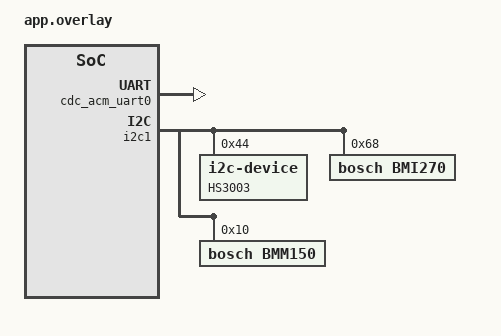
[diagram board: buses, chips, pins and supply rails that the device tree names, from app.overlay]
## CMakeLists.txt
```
cmake_minimum_required(VERSION 3.20.0)
find_package(Zephyr REQUIRED HINTS $ENV{ZEPHYR_BASE})

project(skripsie)

target_include_directories(app PRIVATE
    ${CMAKE_CURRENT_SOURCE_DIR}/include
)

target_sources(app PRIVATE 
src/main.c
src/uart_comm.c
src/GPIO.c
src/mesh.c
src/sensors.c
src/initdata.c
)
```

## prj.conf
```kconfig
CONFIG_GPIO=y


#usb configuration (for cdc uart)
CONFIG_USB_DEVICE_STACK=y
CONFIG_USB_DEVICE_PRODUCT="Zephyr USB console sample"
CONFIG_USB_DEVICE_PID=0x0004
CONFIG_USB_DEVICE_INITIALIZE_AT_BOOT=n

#serial configuration for all uart
CONFIG_SERIAL=y
CONFIG_CONSOLE=y
CONFIG_UART_CONSOLE=y
CONFIG_UART_LINE_CTRL=y 

# General configuration
CONFIG_NCS_APPLICATION_BOOT_BANNER_STRING="Skripsie"
CONFIG_SYSTEM_WORKQUEUE_STACK_SIZE=2048
CONFIG_FLASH=y
CONFIG_FLASH_MAP=y
CONFIG_NVS=y
CONFIG_NVS_LOOKUP_CACHE=y
CONFIG_SETTINGS=y
CONFIG_SETTINGS_NVS_NAME_CACHE=y
CONFIG_HWINFO=y
CONFIG_DK_LIBRARY=y
CONFIG_PM_PARTITION_SIZE_SETTINGS_STORAGE=0x8000
CONFIG_SOC_FLASH_NRF_PARTIAL_ERASE=y
CONFIG_FPU=y
CONFIG_CBPRINTF_FP_SUPPORT=y

# Temperature sensor
CONFIG_SENSOR=y
CONFIG_TEMP_NRF5=y

# Bluetooth configuration
CONFIG_BT=y
CONFIG_BT_DEVICE_NAME="Skripsie"
CONFIG_BT_L2CAP_TX_BUF_COUNT=8
CONFIG_BT_OBSERVER=y
CONFIG_BT_PERIPHERAL=y
CONFIG_BT_SETTINGS=y

# Disable unused Bluetooth features
CONFIG_BT_CTLR_LE_ENC=n
CONFIG_BT_PHY_UPDATE=n
CONFIG_BT_CTLR_CHAN_SEL_2=n
CONFIG_BT_CTLR_MIN_USED_CHAN=n
CONFIG_BT_CTLR_PRIVACY=n

# Bluetooth Mesh configuration
CONFIG_BT_MESH=y
CONFIG_BT_MESH_RELAY=y
CONFIG_BT_MESH_FRIEND=y
CONFIG_BT_MESH_TX_SEG_MAX=10
CONFIG_BT_MESH_PB_GATT=y
CONFIG_BT_MESH_GATT_PROXY=y
CONFIG_BT_MESH_PROXY_USE_DEVICE_NAME=y
CONFIG_BT_MESH_DK_PROV=y
CONFIG_BT_MESH_NLC_PERF_CONF=y
CONFIG_BT_MESH_MODEL_EXTENSIONS=y
CONFIG_BT_MESH_MODEL_EXTENSION_LIST_SIZE=10
# Enabling BT_MESH_NLC_PERF_CONF enables support for 3 application keys by
# default. Therefore, allow up to 3 application key bindings per model instance.
CONFIG_BT_MESH_MODEL_KEY_COUNT=3

# Bluetooth Mesh models
CONFIG_BT_MESH_SENSOR_SRV=y
CONFIG_BT_MESH_SENSOR_SRV_SENSORS_MAX=5

# Increase default delayable message config to avoid insuffisient resources
# during normal sample operation
CONFIG_BT_MESH_ACCESS_DELAYABLE_MSG_CHUNK_COUNT=60
CONFIG_BT_MESH_TX_SEG_MSG_COUNT=4
CONFIG_BT_MESH_ACCESS_DELAYABLE_MSG_COUNT=6

# Debugging
CONFIG_BT_MESH_LOG_LEVEL_DBG=y
CONFIG_BT_MESH_PROVISIONEE_LOG_LEVEL_INF=y

#SENSORS
CONFIG_I2C=y
CONFIG_BMM150=y
CONFIG_BMI270=y
CONFIG_BMM150_SAMPLING_RATE_RUNTIME=y
```

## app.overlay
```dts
//choose cdc uart output as zephyr console alias
/ {
	chosen {
		zephyr,console = &cdc_acm_uart0;
	};
};
//cdc acm uart 
&zephyr_udc0 {
	cdc_acm_uart0: cdc_acm_uart0 {
		compatible = "zephyr,cdc-acm-uart";
	};
};

&i2c1 {
	//Temperaturea and humidity chip HS3003
	hs3003: hs3003@44 {
		compatible = "i2c-device";
		label = "HS3003";
		reg = <0x44>;
		status = "okay";
	};
	//accelerometer and gyro chip BMI270
	bmi270: bmi270@68 {
		compatible = "bosch,bmi270";
		label = "bmi270";
		reg = <0x68>;
		status = "okay";
	};
	bmm150:bmm150@10 {
		compatible = "bosch,bmm150";
		label = "bmm150";
		reg = <0x10>;
		status = "okay";
	};
};
// &arduino_i2c {
// 	status = "okay";

// 	bmi270@68 {
// 		compatible = "bosch,bmi270";
// 		reg = <0x68>;
// 	};
// };
```

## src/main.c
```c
/*
i2c send                                 --yes
i2c read                                 --yes
i2c hs3003 process                       --yes
i2c hs3003 measurement resolution        --no
*/
#include <zephyr/kernel.h>
#include <zephyr/sys/printk.h>
#include <zephyr/usb/usb_device.h>
#include <zephyr/drivers/uart.h>
#include <zephyr/syscalls/time_units.h>
#include <math.h>

#include <stdio.h>
#include <stdlib.h>
#include <string.h>
#include "uart_comm.h"
#include "GPIO.h"
#include "mesh.h"
#include "sensors.h"
#include "initdata.h"

#define TIMER_MS 1000
#define PI 3.14159265359
#define WINDOW_SIZE 40
#define alpha 0.4
#define ALERT_COUNTER_TRIGGER_S 10 //used to determine for how many seconds the wearer can be in an awkward position

static struct k_timer gyr_timer;
static struct k_timer danger_timer;


double acc_roll = 0;
double acc_pitch = 0;
double gyr_roll = 0;
double gyr_pitch = 0;
double gyr_yaw = 0;
double gyr_roll_prev = 0;
double gyr_pitch_prev = 0;
double gyr_yaw_prev = 0;
double roll = 0;
double pitch = 0;
double yaw = 0;
double time_elapsed = 0;
double roll_window[WINDOW_SIZE] = {0};
double pitch_window[WINDOW_SIZE] = {0};
double yaw_window[WINDOW_SIZE] = {0};
uint8_t x= 0;
double roll_smooth = 0;
double pitch_smooth = 0;
double yaw_smooth = 0;
volatile uint16_t doom_count = 0;
void timer_cb(struct k_timer *timer);
double getfloat(double *num);
volatile uint8_t doom_flag = 0;
double avg = 0;
double calculate_average(double num1, double num2, double num3);
// #include "HealthConfig.h"
int main(void)
{       
        onoff_tid = 0;
        k_timer_init(&gyr_timer, timer_cb, NULL);
        //check every 10s if danger and start final timer
        k_timer_init(&danger_timer,timer_cb,NULL);


        if (initialise_uart() !=1)
        {
                printk("Error during UART initialisation\n");
                return 0;
        }
        k_sleep(K_SECONDS(1));

        if(initialise_gpio() != 1)
        {
                printk("Error during GPIO initialisation\n");
                return 0;
        }
        k_sleep(K_SECONDS(1));

        if(initialise_mesh() != 1)
        {
                printk("Error in health server configuration\n");
                return 0;
        }
        k_sleep(K_SECONDS(2));

        if(initialise_i2c() != 1)
        {
                printk("Error initialising i2c device \n");
                return 0;
        }
        k_sleep(K_SECONDS(1));
        //blink when devices connect
        genericOnOffSetUnAck(onoff[0]);//tell mesh network it is safe
        k_msleep(500);
        genericOnOffSetUnAck(onoff[1]);
          k_msleep(500);
        genericOnOffSetUnAck(onoff[0]);
        loop_time = 10;
        //start timer 
        k_timer_start(&gyr_timer,K_MSEC(TIMER_MS),K_MSEC(TIMER_MS));
        k_timer_start(&danger_timer,K_MSEC(TIMER_MS),K_MSEC(TIMER_MS));
        //fill in inital window size sample -1
        for (int i = 0; i < WINDOW_SIZE-1; i++)
                {
                        k_msleep(loop_time);
                        //============================================================================
                        //complementary filter
                        //====================
                        hs3003_measurement();
                        bmi270_measurement();
                        //time elapsed since last measurement
                        time_elapsed = (TIMER_MS - k_timer_remaining_get(&gyr_timer))/1000.0;
                        k_timer_start(&gyr_timer,K_MSEC(TIMER_MS),K_NO_WAIT);
                        //accelerometer measurements to roll and pitch
                        acc_roll = -atan2(acc[0],acc[2]);//outputs radians
                        acc_pitch = asinf(fmaxf(-1.0f,fminf(1.0f,acc[1])));//no need to divid by 9.81 since working in g's
                        //gyr measurements to roll pitch yaw
                        //must conver to radians
                        gyr_roll = gyr_roll_prev + (gyr[1]*PI/180.0)*time_elapsed;
                        gyr_pitch = gyr_pitch_prev + (gyr[0]*PI/180.0)* time_elapsed;
                        gyr_yaw = gyr_yaw_prev + (gyr[2]*PI/180.0)*time_elapsed;
                        //current value into old value 
                        //complementary filter
                        roll = alpha * acc_roll +(1-alpha)*gyr_roll;
                        pitch = alpha*acc_pitch + (1-alpha)*gyr_pitch;
                        yaw = gyr_yaw;
                        gyr_roll_prev = roll;
                        gyr_pitch_prev = pitch;
                        gyr_yaw_prev = yaw;
                        roll_window[i] = fabs(roll);
                        pitch_window[i] = fabs(pitch);
                        yaw_window[i] = fabs(yaw);
                        // printk("%f %f %f\n",roll,pitch,yaw);
                }
        while (1) 
        {
               
                x = x%40;
                k_msleep(loop_time);
                //============================================================================
                //complementary filter
                //====================
                // hs3003_measurement();
                bmi270_measurement();
                //time elapsed since last measurement
                time_elapsed = (TIMER_MS - k_timer_remaining_get(&gyr_timer))/1000.0;
                k_timer_start(&gyr_timer,K_MSEC(TIMER_MS),K_NO_WAIT);
                //accelerometer measurements to roll and pitch
                acc_roll = -atan2(acc[0],acc[2]);//outputs radians
                acc_pitch = asinf(fmaxf(-1.0f,fminf(1.0f,acc[1])));//no need to divid by 9.81 since working in g's
                //gyr measurements to roll pitch yaw
                //must conver to radians
                gyr_roll = gyr_roll_prev + (gyr[1]*PI/180.0)*time_elapsed;
                gyr_pitch = gyr_pitch_prev + (gyr[0]*PI/180.0)* time_elapsed;
                gyr_yaw = gyr_yaw_prev + (gyr[2]*PI/180.0)*time_elapsed;
                //current value into old value 
                //complementary filter
                roll = alpha * acc_roll +(1-alpha)*gyr_roll;
                pitch = alpha*acc_pitch + (1-alpha)*gyr_pitch;
                yaw = gyr_yaw;
                gyr_roll_prev = roll;
                gyr_pitch_prev = pitch;
                gyr_yaw_prev = yaw;
                // printk("%f %f %f\n",roll,pitch,yaw);
                //============================================================================
                //Window filter
                //====================
                roll_window[x] = fabs(roll);
                pitch_window[x] = fabs(pitch);
                yaw_window[x] = fabs(yaw);
                double roll_smooth = 0;
                double pitch_smooth = 0;
                double yaw_smooth = 0;
                for (int i = 0; i < WINDOW_SIZE; i++)
                {
                        roll_smooth += roll_window[i];
                        pitch_smooth += pitch_window[i];
                        yaw_smooth += yaw_window[i];
                }
                roll_smooth /= 40.0;
                pitch_smooth /= 40.0;
                yaw_smooth /= 40.0;
                x++;
                //up vector dot product with 
                // bmm150_measurement();
                //matlab output
                printk("%f %f %f %f %f %f %f %f %f %f %f %f\n",roll,pitch,yaw,roll_smooth,pitch_smooth,yaw_smooth,acc[0],acc[1],acc[2],gyr[0],gyr[1],gyr[2]);
                if(send_flag == 1){
                        printk("sending AT command: %s\n",result);
                        uart_send(uart0_device, result);
                        send_flag = 0;
                }
                if (doom_flag == 1)
                {       
                        avg = calculate_average(acc[0],acc[1],acc[2]);
                        // printk("average %f",avg);
                        if(roll_smooth > PI/2  )//|| avg < 0.4
                        {
                        // printk("doom count %d\n",doom_count);
                                if(doom_count == ALERT_COUNTER_TRIGGER_S)
                                {
                                        genericOnOffSetUnAck(onoff[1]);
                                }
                        doom_count = (doom_count +1)%(ALERT_COUNTER_TRIGGER_S+1);
                        }
                        else if (fabs(roll_smooth) <= PI/2)
                        {
                        doom_count = 0;
                        }
                        doom_flag = 0;
                }
                
                
        }
        return 0;
}
//timer callbacks
void timer_cb(struct k_timer *timer)
{
        //start timer again if it ends for any reason
        if(timer == &gyr_timer)
        {
                printk("Timer expired fault occured!\n");
        }
        if(timer == &danger_timer)
        {       
                doom_flag = 1;     
        }
        
}
double calculate_average(double num1, double num2, double num3) 
{
    double sum = fabs(num1) + fabs(num2) + fabs(num3);
    double average = sum / 3.0;
    
    return average;
}
```

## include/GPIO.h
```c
#ifndef GPIO_H
#define GPIO_H
#include <stdbool.h>
#include <zephyr/drivers/gpio.h>
//function to switch onboard led on or off using true/false
void set_board_led(bool state);
//initialises GPIO inputs and outputs so they can be used
int initialise_gpio();

#endif
```

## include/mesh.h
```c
#ifndef HealthConfig_H
#define HealthConfig_H
#include <zephyr/bluetooth/bluetooth.h>
#include <zephyr/bluetooth/mesh.h>
#include <zephyr/sys/printk.h>
#include <zephyr/bluetooth/mesh/health_srv.h>
#include <zephyr/bluetooth/mesh/cfg_srv.h>
#include <zephyr/device.h>
#include <zephyr/devicetree.h>
#include <bluetooth/mesh/models.h>
#include <zephyr/drivers/hwinfo.h>
#include <zephyr/settings/settings.h>
#include <zephyr/bluetooth/mesh/proxy.h>
#include <zephyr/bluetooth/mesh/access.h>
#include <bluetooth/mesh/sensor_types.h>


//op codes for on/off client (from bluetooth assigned numbers)
#define ONOFF_GET	      BT_MESH_MODEL_OP_2(0x82, 0x01)
#define ONOFF_SET	      BT_MESH_MODEL_OP_2(0x82, 0x02)
#define ONOFF_SET_UNACK  BT_MESH_MODEL_OP_2(0x82, 0x03)
#define ONOFF_STATUS     BT_MESH_MODEL_OP_2(0x82, 0x04)


extern uint8_t onoff_tid;
extern uint8_t onoff[];

int initialise_mesh(void);
void genericOnOffSetUnAck(uint8_t on_or_off);
void genericOnOffSet(uint8_t on_or_off);
#endif
```

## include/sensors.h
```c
#ifndef sensors_H
#define sensors_H
/*&i2c1 {
	hts221: hts221@5f {
		compatible = "st,hts221"; --> rev 2 has HS3003
		status = "okay";
		reg = <0x5f>;
	};
*/

#include <zephyr/kernel.h>
#include <zephyr/device.h>
#include <zephyr/drivers/i2c.h>//device node for sensor hs3003
#include <zephyr/drivers/sensor.h>
#define BMI270_CONFIG_START_REG 0x5E
//device struct, normal i2c device describes as hs3003
extern const struct i2c_dt_spec dev_i2c_hs3003;
extern const struct i2c_dt_spec dev_i2c_bmi270;
extern const struct i2c_dt_spec dev_i2c_bmm150;
extern const struct device *const dev_bmm150;
//global variables containing humidity and temperature readings
extern double hs3003_humidity; //%
extern double hs3003_temperature; //degrees C
extern double acc[3];//xyz
extern double gyr[3];//xyz
extern double mag[3];//xyz
//fucntions
int initialise_i2c(void);
//hs3003 measurement into global variable
void hs3003_measurement(void);
//bmi270 measurement into globa variable
void bmi270_measurement(void);
//bmm150 measurment into global var
void bmm150_measurement(void);
#endif
```

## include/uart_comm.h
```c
#ifndef uart_comm_H
#define uart_comm_H

#include <zephyr/kernel.h>
#include <zephyr/sys/printk.h>
#include <zephyr/usb/usb_device.h>
#include <zephyr/drivers/uart.h>
#include <zephyr/bluetooth/mesh.h>
#include <math.h>

#include <stdio.h>
#include <stdlib.h>
#include <string.h>


// Check to ensure the console is correctly configured as CDC ACM UART
BUILD_ASSERT(DT_NODE_HAS_COMPAT(DT_CHOSEN(zephyr_console), zephyr_cdc_acm_uart),
             "Console device is not ACM CDC UART device");

// Definitions for buffer size and device tree nodes
#define MSG_SIZE 64
//cdc acm uart chosen in overlay file (virtual uart)
#define CDC_UART_DEVICE_NODE DT_CHOSEN(zephyr_console)
//physical uart pins
#define UART_DEVICE_NODE DT_NODELABEL(uart0)


extern volatile uint8_t send_flag;


extern char result[MSG_SIZE];


//device tree devices
extern const struct device *cdc_uart_device;
extern const struct device *uart0_device;
extern int loop_time;


int initialise_uart(void);


void serial_cb(const struct device *dev, void *user_data);


void uart_send(const struct device *dev, const char *msg);

#endif 
```

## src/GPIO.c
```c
//initialize led
#include "GPIO.h"
static const struct gpio_dt_spec led_onboard = GPIO_DT_SPEC_GET(DT_ALIAS(led0), gpios);
void set_board_led(bool state) {
	gpio_pin_set_dt(&led_onboard, state);
}
int initialise_gpio(){
    //check that gpio is ready
    if (!gpio_is_ready_dt(&led_onboard)) {
		return 0;
	}
    //configure it as output and set it active
	int ret = gpio_pin_configure_dt(&led_onboard, GPIO_OUTPUT_ACTIVE);
	if (ret < 0) {
		return 0;
	}
    return 1;
}
```

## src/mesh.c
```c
#include "gpio.h" // Needed for set_board_led
#include "mesh.h"
#include "sensors.h"

bool publish = false;
uint16_t reply_addr;
uint8_t reply_net_idx;
uint8_t reply_app_idx;
static struct bt_mesh_model models[];
uint8_t onoff_tid = 0;
uint8_t onoff[] = {
	0,
	1};

//------------------------------------------------------------------------
//health server led control (attention)
//-------------------------------------
//attention leds taht will switch led while provisioning
static void attention_on(const struct bt_mesh_model *mod)
{
    printk("attention_on()\n");
    set_board_led(true);
}

static void attention_off(const struct bt_mesh_model *mod)
{
    printk("attention_off()\n");
    set_board_led(false);
}
//health server callback
static const struct bt_mesh_health_srv_cb health_srv_callback = {
    .attn_on = attention_on,
    .attn_off = attention_off,
};
//health server struct (callback is set in here)
static struct bt_mesh_health_srv health_srv = {
    .cb = &health_srv_callback,
};
//------------------------------------------------------------------------------------------------------------------------
//BT sensor mesh sesnor gets
//-------
//temp sensor, places the temp value from hs3003 sensor into bt mesh sensor when get request is sent
static int temp_get(struct bt_mesh_sensor_srv *srv,
                    struct bt_mesh_sensor *sensor,
                    struct bt_mesh_msg_ctx *ctx,
                    struct bt_mesh_sensor_value *rsp)
                    {
						//using environmental sensor format
                        int err;
                        struct sensor_value temperature;
                        /*

                        .val1 --> int32_t interger part of value

                        .val2 --> int32_t fractional part of the value  (in one-millionth parts, 0.5 = 500000, *1 000 000)
						
                        */
                        //take measurement and place values into global variables
						hs3003_measurement();
                        //global variables are double convert them too int32 and put them into sensor_value struct
                        temperature.val1 = (int32_t)hs3003_temperature;
                        double fractional_part = (hs3003_temperature-(double)(temperature.val1))*1000000;
                        temperature.val2 = (int32_t)fractional_part;
                        printk("val1 temp:%d \n val2 temp%d\n",temperature.val1,temperature.val2);

                        err = bt_mesh_sensor_value_from_sensor_value(
                            sensor->type->channels[0].format, &temperature, rsp);
                        if (err && err != -ERANGE) {
                            printk("Error encoding temperature sensor data (%d)\n", err);
                            return err;
                        }
                        return 0;
                    }
static int hum_get(struct bt_mesh_sensor_srv *srv,
                    struct bt_mesh_sensor *sensor,
                    struct bt_mesh_msg_ctx *ctx,
                    struct bt_mesh_sensor_value *rsp)
					{
						//using percentage sensor format
						int err;
                        struct sensor_value humidity;
						hs3003_measurement();
						humidity.val1 = (int32_t)(hs3003_humidity);//to round up and cast
						humidity.val2 = (int32_t)0;
						printk("val1 temp:%d \n val2 temp%d\n",humidity.val1,humidity.val2);
						err = bt_mesh_sensor_value_from_sensor_value(
                            sensor->type->channels[0].format, &humidity, rsp);
                        if (err && err != -ERANGE) {
                            printk("Error encoding humidity sensor data (%d)\n", err);
                            return err;
                        }
                        return 0;
					}
//------------------------------------------------------------------------------------------------------------------------
//BT  sensor mesh
//------- -------
//
//part of temp sensor structure
// static const struct bt_mesh_sensor_descriptor hs3003_temperature_description =
// {
// 	.tolerance = {
// 		.negative = BT_MESH_SENSOR_TOLERANCE_ENCODE(4),
// 		.positive = BT_MESH_SENSOR_TOLERANCE_ENCODE(4),
// 	},
// 	.sampling_type = BT_MESH_SENSOR_SAMPLING_INSTANTANEOUS,//sample is current instantaneous temperature
// };
//temp sensor structure
static struct bt_mesh_sensor hs3003_temp = 
{
.type = &bt_mesh_sensor_present_amb_temp,
.get = temp_get,//in sensors section
// .descriptor = &hs3003_temperature_description,
};
static struct bt_mesh_sensor hs3003_hum =
{
.type = &bt_mesh_sensor_present_amb_temp,
.get = hum_get,
};
//array of mesh sensors for elemnt 0
//array of sensors and sensor settings(not used here)
static struct bt_mesh_sensor *const ambient_temperature[] =
{
&hs3003_temp,//temperature sensor for mesh server
};
static struct bt_mesh_sensor *const ambient_humidity[] =
{
&hs3003_hum,
};
//sensor mesh initiation
//initialises array of sensors
static struct bt_mesh_sensor_srv ambient_hum_srv = BT_MESH_SENSOR_SRV_INIT(ambient_humidity,ARRAY_SIZE(ambient_humidity));
static struct bt_mesh_sensor_srv ambient_temp_srv = BT_MESH_SENSOR_SRV_INIT(ambient_temperature,ARRAY_SIZE(ambient_temperature));
//define published message for health server as 0, no health messages being published only led state being changed
BT_MESH_HEALTH_PUB_DEFINE(health_pub, 0);

// -------------------------------------------------------------------------------------------------------
// onoff server and general functions
// -----------
//processes messages
uint8_t onoff_state;
void generic_onoff_status(bool publish, uint8_t on_or_off)
{
	int err;
	struct bt_mesh_model *model = &models[3];
	if (publish && model->pub->addr == BT_MESH_ADDR_UNASSIGNED) 
		{
			// printk("No publish address associated with the generic on off server model -add one with a configuration app like nRF Mesh\n");
			return;
		}
	if (publish) 
		{
		struct net_buf_simple *msg = model->pub->msg;
		net_buf_simple_reset(msg);
		bt_mesh_model_msg_init(msg, ONOFF_STATUS);
		net_buf_simple_add_u8(msg, on_or_off);
		// printk("publishing on off status message\n");
		err = bt_mesh_model_publish(model);
		if (err)
			{
				printk("bt_mesh_model_publish err %d\n", err);
			}
		} 
	else 
	{
		uint8_t buflen = 7;
		NET_BUF_SIMPLE_DEFINE(msg, buflen);
		bt_mesh_model_msg_init(&msg, ONOFF_STATUS);
		net_buf_simple_add_u8(&msg, on_or_off);
		struct bt_mesh_msg_ctx ctx = {
		.net_idx = reply_net_idx,
		.app_idx = reply_app_idx,
		.addr = reply_addr,
		.send_ttl = BT_MESH_TTL_DEFAULT,
		};
		// printk("sending on off status message\n");
		if (bt_mesh_model_send(model, &ctx, &msg, NULL, NULL))
			{
				printk("Unable to send generic onoff status message\n");
			}
	}
}

static void set_onoff_state(struct bt_mesh_model *model, struct bt_mesh_msg_ctx *ctx,struct net_buf_simple *buf, bool ack)
{
	uint8_t msg_onoff_state = net_buf_simple_pull_u8(buf);
	if (msg_onoff_state == onoff_state) 
	{
		// no state change so nothing to do
		return;
	}
	onoff_state = msg_onoff_state;
	uint8_t tid = net_buf_simple_pull_u8(buf);
	// printk("set onoff state: onoff=%u TID=%u\n", onoff_state, tid);
	if (onoff_state == 0)
	{
		set_board_led(false);
	}
	else
	{
		set_board_led(true);
	}
	/*
	* 3.7.7.2 Acknowledged Set
	*/
	if (ack) 
	{
		generic_onoff_status(false, onoff_state);
	}
	/*
	* If a server has a publish address, it is required to publish status on a state
	change
	* See Mesh Profile Specification 3.7.6.1.2
	*/
	if (model->pub->addr != BT_MESH_ADDR_UNASSIGNED) 
		{
			generic_onoff_status(true, onoff_state);
		}
}
BT_MESH_MODEL_PUB_DEFINE(generic_onoff_pub, NULL, 2 + 1);

static void generic_onoff_get(struct bt_mesh_model *model, struct bt_mesh_msg_ctx *ctx,struct net_buf_simple *buf)
{
	// printk("gen_onoff_get\n");
	reply_addr = ctx->addr;
	reply_net_idx = ctx->net_idx;
	reply_app_idx = ctx->app_idx;
	generic_onoff_status(false, onoff_state);
}

static void generic_onoff_set(struct bt_mesh_model *model, struct bt_mesh_msg_ctx *ctx,struct net_buf_simple *buf)
{
	// printk("gen_onoff_set\n");
	set_onoff_state(model, ctx, buf, true);
}

static void generic_onoff_set_unack(struct bt_mesh_model *model, struct bt_mesh_msg_ctx *ctx, struct net_buf_simple *buf)
{
	// printk("generic_onoff_set_unack\n");
	set_onoff_state(model, ctx, buf, false);
}

static const struct bt_mesh_model_op generic_onoff_op[] = 
{
		{ONOFF_GET, 0, generic_onoff_get},
		{ONOFF_SET, 2, generic_onoff_set},
		{ONOFF_SET_UNACK, 2, generic_onoff_set_unack},
		BT_MESH_MODEL_OP_END,
};
// -------------------------------------------------------------------------------------------------------
// onoff client functions
// -----------
//sends messges
BT_MESH_MODEL_PUB_DEFINE(gen_onoff_cli, NULL, 2);
static const struct bt_mesh_model_op generic_onoff_cli_op[] =
{
	{ONOFF_STATUS, 1, generic_onoff_status},
	BT_MESH_MODEL_OP_END,
};

int genericOnOffGet()
{
	printk("genericOnOffGet\n");
	int err;
	struct bt_mesh_model *model = &models[4];
	//check if pub address set
	if (model->pub->addr == BT_MESH_ADDR_UNASSIGNED) 
		{
			// printk("No publish address associated with the generic on off client model - add onewith a configuration app like nRF Mesh\n");
			return -1;
		}
	struct net_buf_simple *msg = model->pub->msg;
	bt_mesh_model_msg_init(msg,ONOFF_GET);
	printk("publishing get on off message\n");
	err = bt_mesh_model_publish(model);
	if (err) 
		{
			printk("bt_mesh_model_publish err %d\n", err);
		}
	return err;
}

int sendGenOnOffSet(uint8_t on_or_off, uint16_t message_type)
{
	int err;
	struct bt_mesh_model *model = &models[4];
	if (model->pub->addr == BT_MESH_ADDR_UNASSIGNED) 
		{
			printk("No publish address associated with the generic on off client model - add one with a configuration app like nRF Mesh\n");
			return -1;
		}
	struct net_buf_simple *msg = model->pub->msg;
	bt_mesh_model_msg_init(msg, message_type);
	net_buf_simple_add_u8(msg, on_or_off);
	net_buf_simple_add_u8(msg, onoff_tid);
	onoff_tid++;
	printk("publishing set on off state=0x%02x\n",on_or_off);
	err = bt_mesh_model_publish(model);
	if (err)
		{
			printk("bt_mesh_model_publish err %d\n", err);
		}
	return err;
}
void genericOnOffSetUnAck(uint8_t on_or_off)
{
	if (sendGenOnOffSet(on_or_off, ONOFF_SET_UNACK))
		{
			printk("Unable to send generic onoff set unack message\n");
		} 
	else 
		{
			printk("onoff set unack message %d sent\n",on_or_off);
		}
}
void genericOnOffSet(uint8_t on_or_off)
{
	if (sendGenOnOffSet(on_or_off, ONOFF_SET))
		{
			printk("Unable to send generic onoff set message\n");
		} 
	else 
		{
			printk("onoff set message %d sent\n",on_or_off);
		}
}
// -------------------------------------------------------------------------------------------------------
// Composition
// -----------
static struct bt_mesh_model models[] =
{
	BT_MESH_MODEL_CFG_SRV,//config server
	BT_MESH_MODEL_HEALTH_SRV(&health_srv,&health_pub),//health server
	BT_MESH_MODEL_SENSOR_SRV(&ambient_temp_srv),//sensor server
	// BT_MESH_MODEL(BT_MESH_MODEL_ID_GEN_ONOFF_CLI, onoff_client_op, &onoff_client_publish, 0),
	BT_MESH_MODEL(BT_MESH_MODEL_ID_GEN_ONOFF_SRV, generic_onoff_op,&generic_onoff_pub, NULL),//onoff server (led)
	BT_MESH_MODEL(BT_MESH_MODEL_ID_GEN_ONOFF_CLI, generic_onoff_cli_op, &gen_onoff_cli,&onoff[0]),//onoff client (switch)
};
static struct bt_mesh_model models2[] =
{
	BT_MESH_MODEL_SENSOR_SRV(&ambient_hum_srv),
};
static struct bt_mesh_elem elements[] = 
{
    //BT_MESH_ELEM(index, array of models, vendor models)
    BT_MESH_ELEM(1, models,BT_MESH_MODEL_NONE),
	BT_MESH_ELEM(2,models2,BT_MESH_MODEL_NONE),
};
//node
static const struct bt_mesh_comp comp = 
{
    .cid = 0xFFFF,//company id use this during testing
    .elem = elements,
    .elem_count = ARRAY_SIZE(elements),
};
// -------------------------------------------------------------------------------------------------------
//provisioning
//------------
//outputs pins generated by stack
static int output_number(bt_mesh_output_action_t action, uint32_t number)
{
	printk("OOB Number: %u\n", number);
	return 0;
}
static void prov_complete(uint16_t net_idx, uint16_t addr)
{
	printk("Provisioning completed!\n");
}
static void prov_reset(void)
{
	bt_mesh_prov_enable(BT_MESH_PROV_ADV | BT_MESH_PROV_GATT);
}
static uint8_t dev_uuid[16];
//provisioning properties
static const struct bt_mesh_prov prov = {
	.uuid = dev_uuid,
	.output_size = 4,
	.output_actions = BT_MESH_DISPLAY_NUMBER,
	.output_number = output_number,//function above
	.complete = prov_complete,//function above
	.reset = prov_reset,//function above
};
static void bt_ready(int err)
{
	if (err) {
		printk("Bluetooth init failed (err %d)\n", err);
		return;
	}

	printk("Bluetooth initialized\n");

	err = bt_mesh_init(&prov, &comp);
	// err = bt_mesh_init(bt_mesh_dk_prov_init(), model_handler_init());
	if (err) {
		printk("Initializing mesh failed (err %d)\n", err);
		return;
	}

	if (IS_ENABLED(CONFIG_SETTINGS)) {
		settings_load();
        printk("settings loaded\n");
	}
	/* This will be a no-op if settings_load() loaded provisioning info */
	bt_mesh_prov_enable(BT_MESH_PROV_ADV | BT_MESH_PROV_GATT);

	printk("Mesh initialized\n");
}
int initialise_mesh(void)
{
	int err = 0;
	if (IS_ENABLED(CONFIG_HWINFO)) {
		err = hwinfo_get_device_id(dev_uuid, sizeof(dev_uuid));
	}

	if (err < 0) {
		dev_uuid[0] = 0xdd;
		dev_uuid[1] = 0xdd;
	}
	err = bt_enable(bt_ready);
	if (err) {
		printk("Bluetooth init failed (err %d)\n", err);
	}
	

    printk("Health Server initialized.\n");
	return 1;
    // Often, this function is mostly a placeholder and the real initialization 
    // happens when the primary model list is defined and registered.
}
//
//more onoff stuff
//
```

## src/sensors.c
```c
/*
all sensors on &i2c1 (the only i2c device)
humidity and temp sensor --> HS3003 default address 0x44

*/

#include "sensors.h"
#include "initdata.h"
//registers for bmi270
#define ID 0X00
#define PWR_CONFIG 0X7C
#define INIT_CTRL 0X59
#define INIT_DATA 0X5E
#define INIT_ADDR_0 0X5B
#define INIT_ADDR_1 0X5C
#define INTERNAL_STATUS 0X21
#define PWR_CTRL 0X7D
#define ACC_CONF 0X40
#define GYR_CONF 0X42
//4 byte temp and humid data
uint8_t hs3003_raw_data[4];
double acc[3] = {0}; //xyz
double gyr[3] = {0}; //xyz
double mag[3] = {0};//xyz
//HS3003 sensor 
double hs3003_humidity = 0;
double hs3003_temperature = 0;
//BMI270 sensor

//BMI270 settings

//initialise i2c
const struct i2c_dt_spec dev_i2c_hs3003 = I2C_DT_SPEC_GET(DT_NODELABEL(hs3003));
const struct i2c_dt_spec dev_i2c_bmi270 = I2C_DT_SPEC_GET(DT_NODELABEL(bmi270));
const struct i2c_dt_spec dev_i2c_bmm150 = I2C_DT_SPEC_GET(DT_NODELABEL(bmm150));
const struct device *const dev_bmm150 = DEVICE_DT_GET_ONE(bosch_bmm150);
int initialise_i2c(void);
int i2c_reg_byte_write_read(const struct i2c_dt_spec dev,uint8_t reg,uint8_t data);
void bmi270_measurement(void);
void hs3003_measurement(void);
void hs3003_process_data(const uint8_t *raw_data, double *humidity, double *temperature);
void init_data_address_increment(uint16_t iteration);
void i2c_request(const struct i2c_dt_spec dev, uint8_t *store_raw_data );
void i2c_send(const struct i2c_dt_spec dev, const uint8_t *msg);
int i2c_write_byte(const struct i2c_dt_spec dev, uint8_t addr, uint8_t value);
int i2c_read_byte(const struct i2c_dt_spec dev, uint8_t reg,uint8_t *store_target);
int config_bmi270(void);
int config_bmm150(void);
void bmm150_measurement(void);
//HS3003 temperature and humidity functions using I2C
int initialise_i2c(void)
{
    //check that device is ready to operate
    //HS3003
    uint8_t err = 0;
   
    if(!device_is_ready(dev_i2c_hs3003.bus))
    {
        printk("the hs3003 i2c device is not ready \n");
        return 0;
    }
    //BMI270
    if(!device_is_ready(dev_i2c_bmi270.bus)){
        printk("the bmi270 i2c device is not ready \n");
        return 0;
    }
    if(!device_is_ready(dev_i2c_bmm150.bus)){
        printk("the bmm150 i2c device is not ready \n");
        return 0;
    }
    if(device_is_ready(dev_bmm150)){
        printk("the bmm150 is not ready\n");
    }
    //config bmi270
    err = config_bmi270();if(err !=1){return 0;}
    //config bmm150
    err = config_bmm150();if(err !=1){return 0;}
    printk("I2C initialised\n");
    return 1;
}
void i2c_send(const struct i2c_dt_spec dev, const uint8_t *msg)
{
    //send custom message to i2c device
    int ret = i2c_write_dt(&dev,msg , sizeof(msg));
    //if send was unuseccesful
    if(ret != 0)
    {
            printk("failed to send \n");
    }
}
int i2c_write_byte(const struct i2c_dt_spec dev, uint8_t reg, uint8_t value){
    uint8_t err = 0xFF;
    err = i2c_reg_write_byte_dt(&dev,reg,value);
    if(err != 0)
    {
        printk("byte write errorin address 0x%X\n",reg);
        return 0;
    }
    return 1;
}
int i2c_read_byte(const struct i2c_dt_spec dev, uint8_t reg,uint8_t *store_target)
{
    uint8_t err = 0;
    err = i2c_reg_read_byte_dt(&dev,reg,store_target);
    if(err != 0)
    {
        printk("read fail reg 0x%X\n",reg);
        return 0;
    }
    return 1;
}
void i2c_request(const struct i2c_dt_spec dev, uint8_t *store_raw_data )
{
    //read data from i2c device and specify storage array location
    int ret = i2c_read_dt(&dev, store_raw_data , sizeof(store_raw_data));
    //report error if read was unsuccesfull
    if(ret != 0)
    {
            printk("failed to send \n");
    } 
    
}
void init_data_address_increment(uint16_t iteration){
    uint16_t init_val=128*iteration;
    // printk("increment address: %d\n",init_val);
    uint8_t init_data_0_value = (uint8_t)(init_val & 0x0F);
    // printk("init_add_0 = %X \n",init_data_0_value);
    uint8_t init_data_1_value = (uint8_t)((init_val >> 4) & 0xFF);
    // printk("init_add_1 = %X \n",init_data_1_value);
    i2c_reg_write_byte_dt(&dev_i2c_bmi270,INIT_ADDR_0,init_data_0_value);
    i2c_reg_write_byte_dt(&dev_i2c_bmi270,INIT_ADDR_1,init_data_1_value);
}
int i2c_reg_byte_write_read(const struct i2c_dt_spec dev,uint8_t reg,uint8_t data)
{
    //returns 0 if error
    uint8_t temp = 0xFF;
    uint8_t err = 0xFF;
    err = i2c_reg_write_byte_dt(&dev,reg,data);
        if(err != 0)
        {
            printk("byte write fail power save\n");
            return 0;
        }
    err = i2c_reg_read_byte_dt(&dev_i2c_bmi270,reg,&temp);
        if(err != 0)
        {
            printk("write fail\n");
            return 0;
        }
        printk("BMI270 reg 0x%X: 0x%X \n",reg,temp);
    return 1;
}
void hs3003_process_data(const uint8_t *raw_data, double *humidity, double *temperature)
{
    uint16_t hum_word;
    uint16_t temp_word;

    double x;
    
    // 1. Combine Humidity Bytes (raw_data[0] and raw_data[1])
    // The two MSBs of raw_data[0] are status bits and must be masked (0x3F) and moved left by 8 then append the other byte.
    hum_word = (uint16_t)((raw_data[0] & 0x3F) << 8 | raw_data[1]);
    x = hum_word/16383.0*100.0;
    // printk("x hum is %f",x);
    *humidity = x; // Now holds the pure 14-bit value (0 to 16383)

    // 2. Combine Temperature Bytes (raw_data[2] and raw_data[3])
    // The two LSBs of raw_data[3] are undetermined and must be masked (0xFC).
    temp_word = (uint16_t)(raw_data[2] << 8 | (raw_data[3] & 0xFC));

    // The raw 14-bit temperature value is bit-shifted 2 positions left (Temp[15:2] in the datasheet)
    // To get the pure 14-bit value (0 to 16383), we must shift the combined word 2 positions right.
    temp_word = temp_word >>2;
    x = temp_word/16383.0*165.0-40.0;
        // printk("x temp is %f",x);
    *temperature = x; 
    
}
void hs3003_measurement(void)
{
    i2c_send(dev_i2c_hs3003,NULL);
    k_msleep(35);
    i2c_request(dev_i2c_hs3003,hs3003_raw_data);
    k_msleep(10);
    hs3003_process_data(hs3003_raw_data,&hs3003_humidity,&hs3003_temperature);
    return;
}
int config_bmi270(void)
{
    uint8_t err = 0;
    uint8_t read_data = 0;
    //read chip ID
    err = i2c_read_byte(dev_i2c_bmi270,ID,&read_data); if(err !=1){return 0;}
    //disable power save
    err = i2c_write_byte(dev_i2c_bmi270,PWR_CONFIG,0X00);if(err !=1){return 0;}
    k_msleep(10);//sleep for min 450 us
    //start initialisation
    err = i2c_write_byte(dev_i2c_bmi270,INIT_CTRL,0x00);if(err !=1){return 0;}
    k_msleep(10);
    //write config file
    uint8_t data_array[257] = {0};
    // printk("size = %d\n",size);
    for (uint16_t i = 0; i < 32; i++)
    { 
        //increment address (starts with reset on i = 0)
        //write to init_data0 and init_data_1 to increment registers. Write bytes/2
        init_data_address_increment(i);
        // creates 256 byte array with address at start
        data_array[0] = INIT_DATA;
        for (uint16_t x = 0; x < 256; x++) 
        {
            // printk(" x %d\n",x);
            data_array[x + 1] = bmi270_config_file[i*256+x];
        }
        //write that array to that address
        err = i2c_write_dt(&dev_i2c_bmi270,data_array,257);
        if(err != 0)
            {
                printk("write fail\n");
                return 0;
            }
        // i2c_send(dev_i2c_bmi270,data_array); 
    }
    // // printk("internal error:%X 0 is good\n",test);
    //end init
    k_msleep(10);
    err = i2c_write_byte(dev_i2c_bmi270,INIT_CTRL,0x01);if(err !=1){return 0;}
    //wait min 20ms
    k_msleep(100);
    // check initiation status
    err = i2c_read_byte(dev_i2c_bmi270,INTERNAL_STATUS,&read_data);if(err !=1){return 0;}  
    k_msleep(10);
    //config bmi for acc gyro and temp (performance mode)
    err = i2c_write_byte(dev_i2c_bmi270,PWR_CTRL,0x0E);if(err !=1){return 0;}
    k_msleep(10);
    //acc config bandwidth and filter
    err = i2c_write_byte(dev_i2c_bmi270,ACC_CONF,0XA8);if(err !=1){return 0;}
    k_msleep(10);
    //gyr config noise filter, bandwidth 
    err = i2c_write_byte(dev_i2c_bmi270,GYR_CONF,0xE9);if(err !=1){return 0;}          
    k_msleep(10);
    //fast power up config
    err =i2c_write_byte(dev_i2c_bmi270,PWR_CONFIG,0x02);if(err !=1){return 0;}
    k_msleep(10);
    // i2c_reg_byte_write_read(dev_i2c_bmi270,0x41,0x03);
    return 1;
}
void bmi270_measurement(void)
{
    //default accell range is 16g g= 9.81m/s
    uint8_t bmi270_raw_data[12] = {0};
    uint8_t err = 0;
    uint8_t gyr_factor = 0;
    uint8_t acc_range = 0;
    uint16_t gyr_range = 0;
    int16_t val =0;
    i2c_read_byte(dev_i2c_bmi270,0x3c,&gyr_factor);
    gyr_factor = gyr_factor & 0x3F;
    i2c_read_byte(dev_i2c_bmi270,0x41,&err);
    switch (err &0x03)
    {
    case 0x00:
        acc_range = 2;
        break;
    case 0x01 :
        acc_range = 4;
        break;
    case 0x02:
        acc_range = 8;
        break;
    case 0x03:
        acc_range = 16;
        break;
    default:
        printk("acc range error");
        break;
    }
    i2c_read_byte(dev_i2c_bmi270,0x43,&err);
    switch (err&0x07)
    {
    case 0:
        gyr_range = 2000;
        break;
    case 1 :
        gyr_range = 1000;
        break;
    case 2:
        gyr_range = 500;
        break;
    case 3:
        gyr_range = 250;
        break;
    case 4:
        gyr_range = 125;
        break;
    default:
        printk("gyr range error");
        break;
    }
    // printk("acc range: %d gyr range %d",acc_range,gyr_range);
    err = i2c_burst_read_dt(&dev_i2c_bmi270,0x0C,bmi270_raw_data,12);
    if(err!=0){
        printk("burst read error in bmi270\n");
    }
    //RAW DATA IS TWO'S COMPLIMENT
    // printk("raw data : %X %X %X %X %X %X %X %X %X %X %X %X  \n",bmi270_raw_data[0],bmi270_raw_data[1],bmi270_raw_data[2],bmi270_raw_data[3],bmi270_raw_data[4],bmi270_raw_data[5],bmi270_raw_data[6],bmi270_raw_data[7],bmi270_raw_data[8],bmi270_raw_data[9],bmi270_raw_data[10],bmi270_raw_data[11]);
    val = (int16_t)(bmi270_raw_data[1] << 8| bmi270_raw_data[0]);
    acc[0] = (double)(val)/(32768.0)*(double)(acc_range);
    val = (int16_t)(bmi270_raw_data[3] << 8| bmi270_raw_data[2]);
    acc[1] = (double)(val)/32768.0*(double)(acc_range);
    val = (int16_t)(bmi270_raw_data[5] << 8| bmi270_raw_data[4]);
    acc[2] = (double)(val)/32768.0*(double)(acc_range);
    
    val = (int16_t)(bmi270_raw_data[7] << 8| bmi270_raw_data[6]);
    gyr[0] =  (double)val; //g1 contains unconverted g1 val
    val = (int16_t)(bmi270_raw_data[11] << 8| bmi270_raw_data[10]);//now ive got unconverted g2 in val
    gyr[2] =  (double)(val)/32768.0*(double)(gyr_range);
    //ug1-factor*(ug2)/2^9 (cross coupling z and x)
    gyr[0] = (gyr[0]-(double)(gyr_factor)*(double)val/512)/32768.0*(double)(gyr_range);
    val = (int16_t)(bmi270_raw_data[9] << 8| bmi270_raw_data[8]);
    gyr[1] =  (double)(val)/32768.0*(double)(gyr_range);
    //accuray in g's gyroscope in degrees/s
    return;
}
int config_bmm150(void)
{
    uint8_t err = 0;
    //put to sleep mode from suspend mode
    err =i2c_write_byte(dev_i2c_bmm150,0x4C,0x02);if(err !=1){return 0;}
    k_msleep(500);
    //put into normal mode to constantly measure
    err = i2c_write_byte(dev_i2c_bmm150,0x4C,0x00);if(err !=1){return 0;}
    return 1;
}

void bmm150_measurement(void)
{
    uint8_t err = 0;
    uint8_t data[6] = {0};
    int16_t val = 0;
    //x and y axis is 13 bits, stored in 2's compliment z axis is 15bits
    err = i2c_burst_read_dt(&dev_i2c_bmm150,0x42,data,sizeof(data));
    if(err!=0)
    {
            printk("burst read error in bmm150\n");
    }
    //x
    val = (int16_t)((data[1]) << 8 | (data[0] & 0x1F)<<3);
    mag[0] = (double)(val)/8191.0/8.0*1300;//to fill sign from the 13th sign bit then divide by 8 to get the original number
    //y
    val = (int16_t)((data[3]) << 8 | (data[2] & 0x1F)<<3);
    mag[1]= (double)((val))/8191.0/8.0*1300;
    //z 15 bits
    val = (int16_t)((data[5]) << 8 | (data[4] & 0x1F)<<1);
    mag[2]= (double)((val))/32767/2.0*2500;
}

// void bmm150_measurement(void)
// {
//     int err = 0;
//     struct sensor_value x, y, z;
//     err = sensor_sample_fetch(dev_bmm150);
//     if(err)
//     {
//         printk("sample fetch fail");
//     }
//     err = sensor_channel_get(dev_bmm150,SENSOR_CHAN_MAGN_X,&x);
//     err = sensor_channel_get(dev_bmm150,SENSOR_CHAN_MAGN_Y,&y);
//     err = sensor_channel_get(dev_bmm150,SENSOR_CHAN_MAGN_Z,&z);
//     printk("( x y z ) = ( %f  %f  %f )\n", sensor_value_to_double(&x),sensor_value_to_double(&y), sensor_value_to_double(&z));//in uT *100 for GAUS
// }
```

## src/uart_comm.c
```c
/*
 * UART_COMM.C
 * Implementation of the UART initialization and communication logic.
 */

#include "uart_comm.h" // Includes all necessary Zephyr headers and prototypes
#include "sensors.h"
#include "mesh.h"
// --- GLOBAL VARIABLE DEFINITIONS (Matching extern in header) ---
volatile uint8_t send_flag = 0;
char result[MSG_SIZE]; // Array used to hold extracted AT command

// --- DEVICE POINTER DEFINITIONS (Matching extern in header) ---
const struct device *cdc_uart_device = DEVICE_DT_GET(CDC_UART_DEVICE_NODE);
const struct device *uart0_device = DEVICE_DT_GET(UART_DEVICE_NODE);

// --- STATIC (File-Local) Variables ---
// These are only needed by the callback/ISR and should not be global.
static volatile int rx_buf_pos = 0;
static char rx_buf[MSG_SIZE];
int loop_time;

// --- FUNCTION IMPLEMENTATIONS ---

int initialise_uart(void)
{
    // Implementation body remains the same as your input
    uint32_t cdc_dtr = 0;
    if (usb_enable(NULL)) {
            return 0;
        }
    //check is serial port is connected and ready to recieve
    while (!cdc_dtr) {
            uart_line_ctrl_get(cdc_uart_device, UART_LINE_CTRL_DTR, &cdc_dtr);
            // Give CPU resources to low priority threads
            printk("CDC DTR = %u\n", cdc_dtr);
            k_sleep(K_MSEC(1000));
        }
    //initialise interrupt and set callback function for cdc uart (virtual)
    int ret = uart_irq_callback_user_data_set(cdc_uart_device, serial_cb, NULL);
    printk("CDC ready\n");
    //check return for errors
    if (ret < 0) {
        if (ret == -ENOTSUP) {
            printk("Interrupt-driven UART API support not enabled\n");
        } else if (ret == -ENOSYS) {
            printk("UART device does not support interrupt-driven API\n");
        } else {
            printk("Error setting UART callback: %d\n", ret);
        }
        return 0;
    }
    printk("CDC UART callback set\n");
    //interrupt for uart0 device (pins)
    ret = uart_irq_callback_user_data_set(uart0_device, serial_cb, NULL);
    printk("Setting UART0 callback ...\n");
    if (ret < 0) {
        if (ret == -ENOTSUP) {
            printk("Interrupt-driven UART API support not enabled\n");
        } else if (ret == -ENOSYS) {
            printk("UART device does not support interrupt-driven API\n");
        } else {
            printk("Error setting UART callback: %d\n", ret);
        }
        return 0;
    }
    printk("UART0 callback set\n");
    uart_irq_rx_enable(cdc_uart_device); //enable rx interrupt to start receiving
    uart_irq_rx_enable(uart0_device); //enable rx interrupt to start receiving
    printk("enabling uart rx interrupts ...\n");
    k_msleep(3); 
    printk("done\n");
    return 1;
}



void serial_cb(const struct device *dev, void *user_data)
{
    // Implementation body remains the same as your input, using static variables
    uint8_t c;
    if (!uart_irq_update(dev)) {
        return;
    }
    if (!uart_irq_rx_ready(dev)) {
        return;
    }
    while (uart_fifo_read(dev, &c, 1) == 1) {
        if ((c == '\n' || c == '\r') && rx_buf_pos > 0) {
            rx_buf[rx_buf_pos] = '\0';
            rx_buf_pos = 0;
            
            if (strstr(rx_buf,"send AT") != NULL)
            {
                const char* start_ptr = strstr(rx_buf, "AT");
                const char* end_ptr = strchr(start_ptr, '\0');
                if (end_ptr == NULL) {
                    printk("no end line char found");
                    return; 
                }
                uint8_t length = end_ptr - start_ptr;
                strncpy(result, start_ptr, length);
                result[length] = '\0';
                send_flag = 1;
                printk("result is:%s and falg is %d",result,send_flag);
                memset(rx_buf,0,MSG_SIZE);
                return;
            }
            else if(strstr(rx_buf,"measure") != NULL)
            {
                hs3003_measurement();
                printk("%.0f%.1f",hs3003_humidity,hs3003_temperature);
                bmi270_measurement();
                printk("%f%f%f%f%f%f",acc[0],acc[1],acc[2],gyr[0],gyr[1],gyr[2]);   
                bmm150_measurement();
                printk("%f%f%f\n",mag[0],mag[1],mag[2]);   
            }
            else if(strstr(rx_buf,"loop:"))
            {
                const char* start_ptr = strstr(rx_buf, ":")+1;
                const char* end_ptr = strchr(start_ptr, '\0');
                if (end_ptr == NULL) {
                    printk("no end line char found");
                    return; 
                }
                uint8_t length = end_ptr - start_ptr;
                strncpy(result, start_ptr, length);
                result[length] = '\0';
                loop_time = 0;
                for(int i = 0; i < length; i++)
                {
                    loop_time += (result[i] -'0')*pow(10,length - i -1);//ascii char to int * powers of 10 dependign on placement and length
                }
                // loop_time = (int)(result)-30;//ascii to int
                // loop_time = atoi(result);
                // printk("time:%d",loop_time);
                memset(rx_buf,0,MSG_SIZE);
                return;
            }
            //panic button
            else if(strstr(rx_buf,"danger"))
            {
                genericOnOffSetUnAck(onoff[1]);
            }
            //reset danger level to 0
            else if(strstr(rx_buf,"safe"))
            {
                genericOnOffSetUnAck(onoff[0]);
            }
            else 
            {
                printk("recieved: %s\n", rx_buf);
                return;
            }
        } else if (rx_buf_pos < (sizeof(rx_buf) - 1)) {
            rx_buf[rx_buf_pos++] = c;
        }
    }
}

void uart_send(const struct device *dev, const char *msg){
    for (uint32_t i = 0; i < strlen(msg); i++) {
        uart_poll_out(dev, msg[i]);
    }
    uart_poll_out(dev, '\r');
}
```
